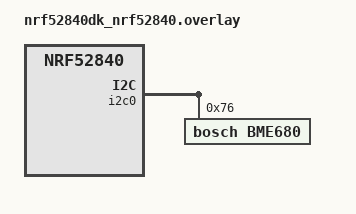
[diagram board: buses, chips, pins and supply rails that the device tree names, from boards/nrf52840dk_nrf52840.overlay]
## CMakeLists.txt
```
# SPDX-License-Identifier: Apache-2.0

cmake_minimum_required(VERSION 3.20.0)
find_package(Zephyr REQUIRED HINTS $ENV{ZEPHYR_BASE})
project(client)

FILE(GLOB app_sources src/*.c)
target_sources(app PRIVATE ${app_sources})
```

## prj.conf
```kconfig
CONFIG_STDOUT_CONSOLE=y
CONFIG_I2C=y
CONFIG_SENSOR=y

# Enables Openthread FTD set
#CONFIG_OPENTHREAD_NORDIC_LIBRARY_FTD=y
# L2 Openthread enabling
CONFIG_NET_L2_OPENTHREAD=y
# Generic networking options
CONFIG_NETWORKING=y
# Enable CoAP protocol
CONFIG_OPENTHREAD_COAP=y

# Network parameters
CONFIG_OPENTHREAD_MANUAL_START=n
CONFIG_OPENTHREAD_NETWORK_NAME="WIA"
CONFIG_OPENTHREAD_PANID=10000
CONFIG_OPENTHREAD_XPANID="fb:02:00:00:ab:cd:00:00"
CONFIG_OPENTHREAD_NETWORKKEY="00:11:22:33:44:55:66:77:88:99:aa:bb:cc:dd:ee:ff"

# Network shell
CONFIG_SHELL=y
CONFIG_OPENTHREAD_SHELL=y
CONFIG_SHELL_ARGC_MAX=26
CONFIG_SHELL_CMD_BUFF_SIZE=416

# Additional params
#CONFIG_MBEDTLS_SHA1_C=n
CONFIG_FPU=y
CONFIG_GPIO=y
CONFIG_CBPRINTF_FP_SUPPORT=y

# Enable Zephyr Crypto API
CONFIG_CRYPTO=y
CONFIG_CRYPTO_INIT_PRIORITY=90

# Enable TinyCrypt for AES encryption
CONFIG_CRYPTO_TINYCRYPT_SHIM=y
CONFIG_TINYCRYPT=y
CONFIG_TINYCRYPT_AES=y
CONFIG_TINYCRYPT_SHA256=y

# Increase buffer sizes and stack sizes for CoAP and OpenThread
CONFIG_NET_BUF_RX_COUNT=10
CONFIG_NET_BUF_TX_COUNT=10
CONFIG_NET_PKT_RX_COUNT=10
CONFIG_NET_PKT_TX_COUNT=10

CONFIG_OPENTHREAD_MESSAGE_BUFFER_SIZE=1024

CONFIG_MAIN_STACK_SIZE=4096
CONFIG_SYSTEM_WORKQUEUE_STACK_SIZE=2048
```

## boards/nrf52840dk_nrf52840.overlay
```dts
/*
 * Copyright (c) 2020, Nordic Semiconductor ASA
 *
 * SPDX-License-Identifier: Apache-2.0
 */

&i2c0 {
	bme680@76 {
		compatible = "bosch,bme680";
		reg = <0x76>;
	};
};

/ {
	chosen {
		zephyr,entropy = &rng;
	};
};
```

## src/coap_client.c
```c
#include "coap_client.h"
#include <openthread/coap.h>
#include <openthread/thread.h>
#include <zephyr/net/openthread.h>
#include <tinycrypt/aes.h>
#include <tinycrypt/constants.h>
#include <zephyr/sys/printk.h>
#include "sensor.h"
#include "crypto.h"

#define AES_KEY_SIZE 16
#define AES_BLOCK_SIZE 16

void coap_send_data_response_cb(void *p_context, otMessage *p_message, const otMessageInfo *p_message_info, otError result) {
    if (result == OT_ERROR_NONE) {
        printk("Delivery confirmed!\n");
    } else {
        printk("Delivery error: %d\n", result);
    }
}

void coap_send_data_request(void) {
    otError error = OT_ERROR_NONE;
    otMessage *myMessage;
    otInstance *myInstance = openthread_get_default_instance();
    otMessageInfo myMessageInfo;

    const otMeshLocalPrefix *ml_prefix = otThreadGetMeshLocalPrefix(myInstance);
    uint8_t serverInterfaceID[8] = {0x00, 0x00, 0x00, 0x00, 0x00, 0x00, 0x00, 0x01};

    char mySensorDataJson[120];
    snprintf(mySensorDataJson, sizeof(mySensorDataJson),
             "{\"temperature\": %d, \"pressure\": %d, \"humidity\": %d, \"gas_resistance\": %d}",
             sensor_data.temp.val1, sensor_data.press.val1, sensor_data.humidity.val1, sensor_data.gas_res.val1);

    printk("Original data: %s\n", mySensorDataJson);

    // Padding the data to the AES block size
    size_t input_len = strlen(mySensorDataJson);
    size_t padded_len = ((input_len + AES_BLOCK_SIZE - 1) / AES_BLOCK_SIZE) * AES_BLOCK_SIZE;
    uint8_t padded_data[padded_len];
    memcpy(padded_data, mySensorDataJson, input_len);
    memset(padded_data + input_len, 0, padded_len - input_len); // Zero-padding

    // Encrypt the data
    uint8_t encrypted_data[padded_len];
    if (encrypt_data(padded_data, padded_len, encrypted_data) != 0) {
        printk("Encryption failed!\n");
        return;
    }

    // Sending the encrypted data
    do {
        myMessage = otCoapNewMessage(myInstance, NULL);
        if (myMessage == NULL) {
            printk("Failed to allocate message for CoAP request!\n");
            return;
        }

        otCoapMessageInit(myMessage, OT_COAP_TYPE_CONFIRMABLE, OT_COAP_CODE_PUT);

        error = otCoapMessageAppendUriPathOptions(myMessage, "storedata");
        if (error != OT_ERROR_NONE) {
            break;
        }

        error = otCoapMessageAppendContentFormatOption(myMessage, OT_COAP_OPTION_CONTENT_FORMAT_JSON);
        if (error != OT_ERROR_NONE) {
            break;
        }

        error = otCoapMessageSetPayloadMarker(myMessage);
        if (error != OT_ERROR_NONE) {
            break;
        }

        error = otMessageAppend(myMessage, encrypted_data, padded_len);
        if (error != OT_ERROR_NONE) {
            break;
        }

        memset(&myMessageInfo, 0, sizeof(myMessageInfo));
        memcpy(&myMessageInfo.mPeerAddr.mFields.m8[0], ml_prefix, 8);
        memcpy(&myMessageInfo.mPeerAddr.mFields.m8[8], serverInterfaceID, 8);
        myMessageInfo.mPeerPort = OT_DEFAULT_COAP_PORT;

        error = otCoapSendRequest(myInstance, myMessage, &myMessageInfo, coap_send_data_response_cb, NULL);

    } while (false);

    if (error == OT_ERROR_NONE) {
        printk("Coap data sent\n");
    } else {
        printk("Coap data send error: %d\n", error);
    }
}

void coap_init(void) {
    otInstance *p_instance = openthread_get_default_instance();
    otError error = otCoapStart(p_instance, OT_DEFAULT_COAP_PORT);
    if (error != OT_ERROR_NONE) {
        printk("Coap Init error: %d\n", error);
    }
}

void send_data_timer_cb(struct k_timer *dummy) {
    k_work_submit(&sensor_work);
    coap_send_data_request();
}
```

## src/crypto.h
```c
#ifndef CRYPTO_H
#define CRYPTO_H

#include <stddef.h>
#include <stdint.h>

// Extern declaration of AES key
extern uint8_t aes_key[16];

// Function prototype
int encrypt_data(const uint8_t *input, size_t input_len, uint8_t *output);

#endif // CRYPTO_H
```

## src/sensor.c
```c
#include "sensor.h"
#include <zephyr/drivers/sensor.h>
#include <zephyr/sys/printk.h>

// Structure to hold sensor data
struct SensorData sensor_data;

void sensor_work_cb(struct k_work *work) {
    const struct device *const dev = DEVICE_DT_GET_ONE(bosch_bme680);

    if (!device_is_ready(dev)) {
        printk("sensor: device not ready.\n");
        return;
    }

    sensor_sample_fetch(dev);
    sensor_channel_get(dev, SENSOR_CHAN_AMBIENT_TEMP, &sensor_data.temp);
    sensor_channel_get(dev, SENSOR_CHAN_PRESS, &sensor_data.press);
    sensor_channel_get(dev, SENSOR_CHAN_HUMIDITY, &sensor_data.humidity);
    sensor_channel_get(dev, SENSOR_CHAN_GAS_RES, &sensor_data.gas_res);
}

K_WORK_DEFINE(sensor_work, sensor_work_cb);
```
